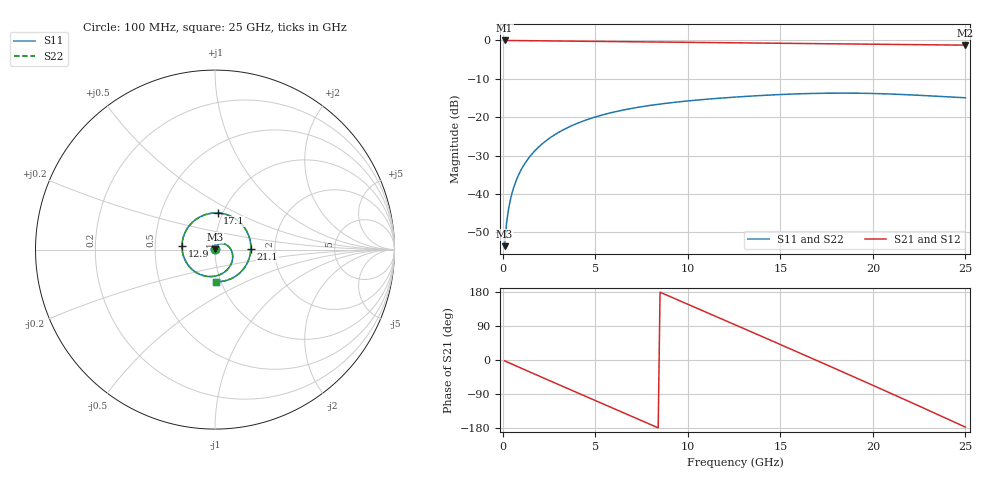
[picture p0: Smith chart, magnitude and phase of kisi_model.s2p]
! kisi A_s4_d200_ap1000: fast channel model (formula impedances, via model), up to 25 GHz
# Hz S RI R 50
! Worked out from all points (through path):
!   250 points, 100 MHz to 25 GHz, reference 50 ohm
!   highest |S21| = -0.01 dB at 100 MHz (marker M1); lowest = -1.2 dB at 25 GHz (marker M2)
!   group delay of S21, straight-line fit = 59.4 ps
!   lowest |S11| = -53.6 dB at 100 MHz (marker M3), VSWR 1.00, Z = 50.1 + j0.197 ohm
!   |S11| at or under -10 dB: start of sweep to end of sweep
!   |S22| runs from -53.6 to -13.7 dB; largest |S21 - S12| = 0
!   S11 on the Smith chart (normalised r, x): 100 MHz: 1.00, +0.00; 12.9 GHz: 0.69, +0.03; 17.1 GHz: 0.95, +0.40; 21.1 GHz: 1.50, +0.01; 25 GHz: 0.95, -0.35
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1e8  0.000679 0.00197  0.998 -0.0386  0.998 -0.0386  0.000679 0.00197
3e8  0.00114 0.00599  0.991 -0.1143  0.991 -0.1143  0.00114 0.00599
5e8  0.00214 0.00999  0.9785 -0.1887  0.9785 -0.1887  0.00214 0.00999
1.2e9  0.0102 0.0229  0.8925 -0.4351  0.8925 -0.4351  0.0102 0.0229
2.8e9  0.0494 0.032  0.4889 -0.8541  0.4889 -0.8541  0.0494 0.032
4.3e9  0.0882 0.00132  -0.0365 -0.9746  -0.0365 -0.9746  0.0882 0.00132
5.4e9  0.0987 -0.0419  -0.4168 -0.8741  -0.4168 -0.8741  0.0987 -0.0419
6.6e9  0.0818 -0.0947  -0.7459 -0.6058  -0.7459 -0.6058  0.0818 -0.0947
8.4e9  0.00367 -0.1471  -0.9497 -0.0165  -0.9497 -0.0165  0.00367 -0.1471
9.5e9  -0.0608 -0.1461  -0.873 0.3576  -0.873 0.3576  -0.0608 -0.1461
1.07e10  -0.1266 -0.1115  -0.6307 0.6926  -0.6307 0.6926  -0.1266 -0.1115
1.26e10  -0.183 -0.00185  -0.0326 0.926  -0.0326 0.926  -0.183 -0.00185
1.29e10  -0.1841 0.0187  0.0703 0.9223  0.0703 0.9223  -0.1841 0.0187
1.5e10  -0.1266 0.1512  0.6911 0.5985  0.6911 0.5985  -0.1266 0.1512
1.67e10  -0.0155 0.2031  0.903 0.0709  0.903 0.0709  -0.0155 0.2031
1.71e10  0.0143 0.2041  0.9015 -0.0647  0.9015 -0.0647  0.0143 0.2041
1.92e10  0.1532 0.1365  0.5814 -0.6789  0.5814 -0.6789  0.1532 0.1365
2.09e10  0.1997 0.0177  0.0555 -0.8844  0.0555 -0.8844  0.1997 0.0177
2.11e10  0.1996 0.00238  -0.0121 -0.8851  -0.0121 -0.8851  0.1996 0.00238
2.28e10  0.1523 -0.1154  -0.5424 -0.6901  -0.5424 -0.6901  0.1523 -0.1154
2.39e10  0.0861 -0.1636  -0.7749 -0.4019  -0.7749 -0.4019  0.0861 -0.1636
2.5e10  0.00678 -0.1788  -0.8669 -0.0422  -0.8669 -0.0422  0.00678 -0.1788
